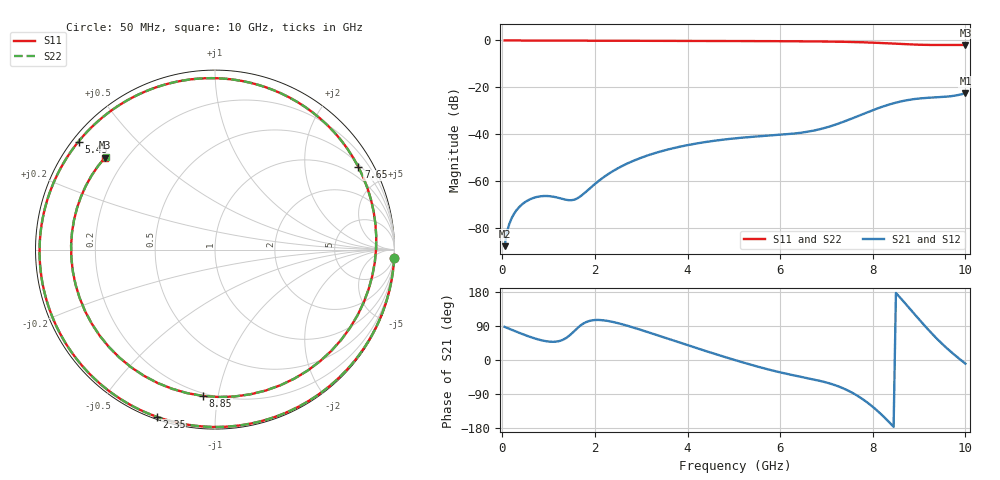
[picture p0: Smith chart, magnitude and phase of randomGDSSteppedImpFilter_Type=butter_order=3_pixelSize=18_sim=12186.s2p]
! freq	dB(S11)	phase(S11)	dB(S12)	phase(S12)
!  dB(S21)	phase(S21)	dB(S22)	phase(S22)
!S-par simulation data
#  GHz  S  DB  R 50
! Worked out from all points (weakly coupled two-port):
!   200 points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, 50 MHz to 10 GHz, reference 50 ohm
!   highest |S21| = -22.56 dB at 10 GHz (marker M1); lowest = -88.0 dB at 50 MHz (marker M2)
!   lowest |S11| = -1.9 dB at 10 GHz (marker M3), VSWR 8.98, Z = 6.29 + j17.9 ohm
!   |S11| at or under -10 dB: nowhere
!   |S22| runs from -1.9 to 0.0 dB; largest |S21 - S12| = 0
!   S11 on the Smith chart (normalised r, x): 50 MHz: 0, -44; 2.35 GHz: 0.01, -0.71; 5.45 GHz: 0.02, +0.35; 7.65 GHz: 0.60, +3.66; 8.85 GHz: 0.18, -0.90; 10 GHz: 0.13, +0.36
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0.05  -0.00 -2.6  -87.97 87.4  -87.97 87.4  -0.00 -2.6
0.35  -0.02 -18.1  -71.57 72.5  -71.57 72.5  -0.02 -18.1
0.6  -0.04 -30.7  -67.92 61.0  -67.92 61.0  -0.04 -30.7
1.5  -0.09 -73.6  -68.29 70.0  -68.29 70.0  -0.09 -73.7
1.75  -0.10 -84.6  -65.69 96.1  -65.69 96.1  -0.10 -84.6
2.35  -0.12 -109.3  -56.34 101.4  -56.34 101.4  -0.12 -109.3
3.4  -0.16 -147.8  -47.56 63.3  -47.56 63.3  -0.16 -147.8
4.25  -0.19 -176.7  -43.88 29.3  -43.88 29.3  -0.19 -176.7
5.05  -0.24 156.0  -41.82 -1.1  -41.82 -1.1  -0.24 156.0
5.45  -0.26 141.6  -41.13 -15.3  -41.13 -15.3  -0.26 141.6
6.15  -0.33 114.1  -40.11 -36.7  -40.11 -36.7  -0.33 114.1
6.7  -0.40 88.7  -38.64 -50.6  -38.64 -50.6  -0.40 88.7
7.2  -0.52 60.9  -35.96 -67.0  -35.96 -67.0  -0.52 60.9
7.65  -0.71 29.9  -32.58 -92.9  -32.58 -92.9  -0.71 29.8
8  -0.94 0.2  -29.83 -123.6  -29.83 -123.6  -0.94 0.0
8.35  -1.27 -35.4  -27.43 -163.5  -27.43 -163.5  -1.27 -35.6
8.6  -1.52 -64.2  -26.11 163.4  -26.11 163.4  -1.53 -64.4
8.85  -1.74 -94.7  -25.19 128.3  -25.19 128.3  -1.75 -95.0
9.15  -1.90 -131.3  -24.58 86.5  -24.58 86.5  -1.90 -131.7
9.4  -1.93 -160.2  -24.29 54.3  -24.29 54.3  -1.93 -160.5
9.7  -1.91 168.4  -23.80 20.3  -23.80 20.3  -1.91 168.1
10  -1.94 140.1  -22.56 -9.7  -22.56 -9.7  -1.95 139.7
